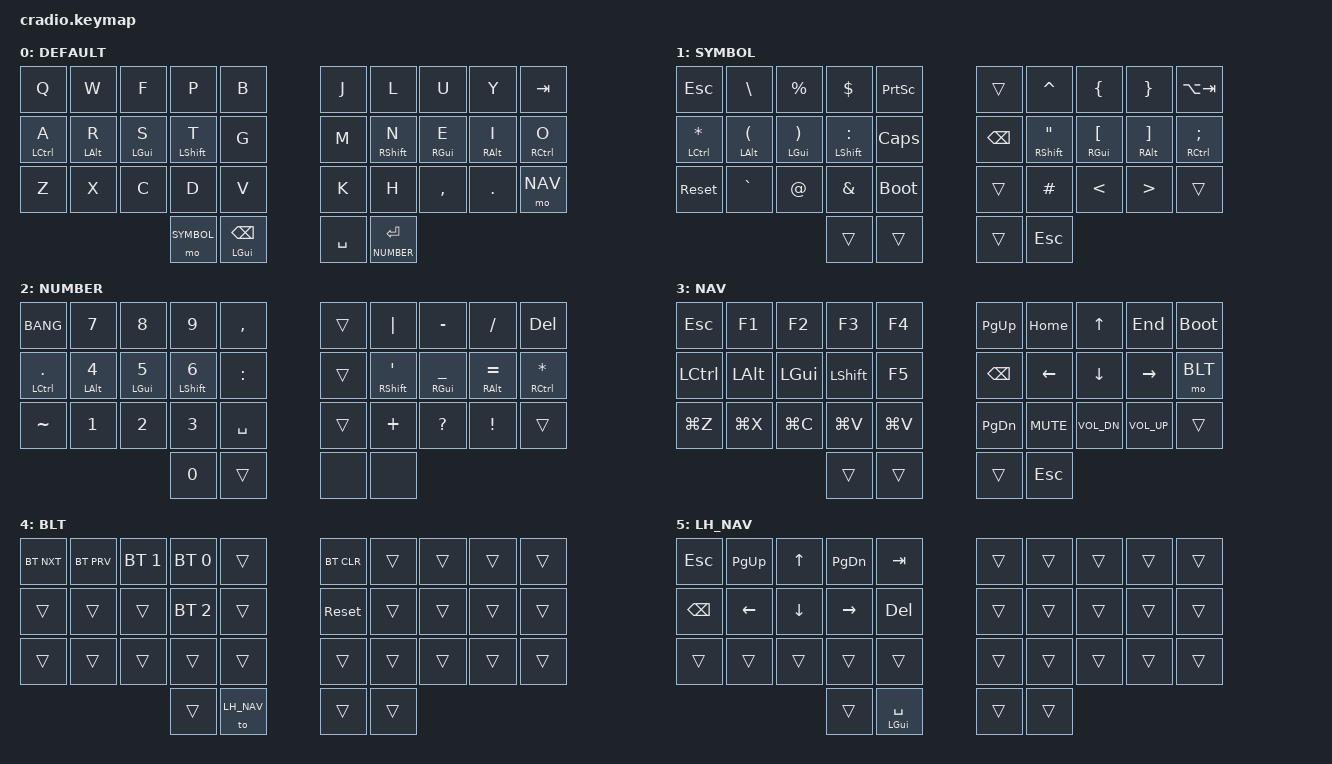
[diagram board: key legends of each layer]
/*
 * Copyright (c) 2020 The ZMK Contributors
 *
 * SPDX-License-Identifier: MIT
 */

#include <behaviors.dtsi>
#include <dt-bindings/zmk/bt.h>
#include <dt-bindings/zmk/keys.h>

// Layers
#define DEFAULT 0
#define SYMBOL 1
#define NUMBER 2
#define NAV 3
#define BLT 4
#define LH_NAV 5

&mt {
    flavor = "tap-preferred";
    // tapping-term-ms = <400>;
};

// &sk {
//     quick-release;
// };

/ {
//     combos {
//         compatible = "zmk,combos";

//         caps_word {
//             bindings = <&caps_word>;
//             key-positions = <14 15>;
//         };

//         backspace {
//             bindings = <&kp BACKSPACE>;
//             key-positions = <7 8>;
//         };

//         combo_shift {
//             bindings = <&sk LSHIFT>;
//             key-positions = <1 2>;
//         };

//         compo_alt {
//             bindings = <&sk LEFT_ALT>;
//             key-positions = <21 22>;
//         };

//         combo_cmd {
//             bindings = <&sk RCMD>;
//             key-positions = <27 28>;
//         };
//     };

//     macros {
//     };

    keymap {
        compatible = "zmk,keymap";

        DEFAULT {
            bindings = <
             &kp Q                  &kp W           &kp F           &kp P               &kp B           &kp J           &kp L               &kp U               &kp Y           &kp TAB
             &mt LCTRL A            &mt LALT R      &mt LGUI S      &mt LSHFT T         &kp G           &kp M           &mt RSHFT N         &mt RGUI E          &mt RALT I      &mt RCTRL O
             &kp Z                  &kp X           &kp C           &kp D               &kp V           &kp K           &kp H               &kp COMMA           &kp DOT         &mo NAV
                                                                    &mo SYMBOL          &mt LGUI BSPC   &kp SPACE       &lt NUMBER RETURN
            >;
        };

        SYMBOL {
            bindings = <
                &kp ESC             &kp BSLH        &kp PRCNT       &kp DOLLAR          &kp PSCRN       &trans          &kp CARET           &kp LBRC            &kp RBRC        &kp LA(TAB)
                &mt LCTRL STAR      &mt LALT LPAR   &mt LGUI RPAR   &mt LSHFT COLON     &kp CAPS        &kp BSPC        &mt RSHFT DQT       &mt RGUI LBKT       &mt RALT RBKT   &mt RCTRL SEMI
                &sys_reset          &kp GRAVE       &kp AT_SIGN     &kp AMPERSAND       &bootloader     &trans          &kp HASH            &kp LESS_THAN       &kp GT          &trans
                                                                    &trans              &trans          &trans          &kp ESC             
            >;
        }; 

        NUMBER {
            bindings = <
                &kp BANG            &kp N7          &kp N8          &kp N9              &kp COMMA       &trans          &kp PIPE            &kp MINUS           &kp SLASH       &kp DEL
                &mt LCTRL DOT       &mt LALT N4     &mt LGUI N5     &mt LSHFT N6        &kp COLON       &trans          &mt RSHFT APOS      &mt RGUI UNDER      &mt RALT EQUAL  &mt RCTRL STAR
                &kp TILDE           &kp N1          &kp N2          &kp N3              &kp SPACE       &trans          &kp PLUS            &kp QUESTION        &kp EXCL        &trans
                                                                    &kp N0              &trans          &none           &none
            >;
        };

        NAV {
            bindings = <
                &kp ESC             &kp F1          &kp F2          &kp F3              &kp F4          &kp PAGE_UP     &kp HOME            &kp UP              &kp END         &bootloader
                &kp LCTRL           &kp LALT        &kp LGUI        &kp LSHFT           &kp F5          &kp BSPC        &kp LEFT            &kp DOWN            &kp RIGHT       &mo BLT
                &kp LG(Z)           &kp LG(X)       &kp LG(C)       &kp LG(V)           &kp LG(V)       &kp PAGE_DOWN   &kp C_MUTE          &kp C_VOL_DN        &kp C_VOL_UP    &trans
                                                                    &trans              &trans          &trans          &kp ESC
            >;
        };

        BLT {
            bindings = <
                &bt BT_NXT          &bt BT_PRV      &bt BT_SEL 1    &bt BT_SEL 0        &trans          &bt BT_CLR      &trans              &trans              &trans          &trans
                &trans              &trans          &trans          &bt BT_SEL 2        &trans          &sys_reset      &trans              &trans              &trans          &trans
                &trans              &trans          &trans          &trans              &trans          &trans          &trans              &trans              &trans          &trans
                                                                    &trans              &to LH_NAV      &trans          &trans
            >;
        };

        LH_NAV {
            bindings = <
                &kp ESC             &kp PAGE_UP     &kp UP          &kp PAGE_DOWN       &kp TAB         &trans          &trans              &trans              &trans          &trans
                &kp BACKSPACE       &kp LEFT        &kp DOWN        &kp RIGHT           &kp DEL         &trans          &trans              &trans              &trans          &trans
                &trans              &trans          &trans          &trans              &trans          &trans          &trans              &trans              &trans          &trans
                                                                    &trans              &mt LGUI SPACE  &trans          &trans
            >;
        };
    };
};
